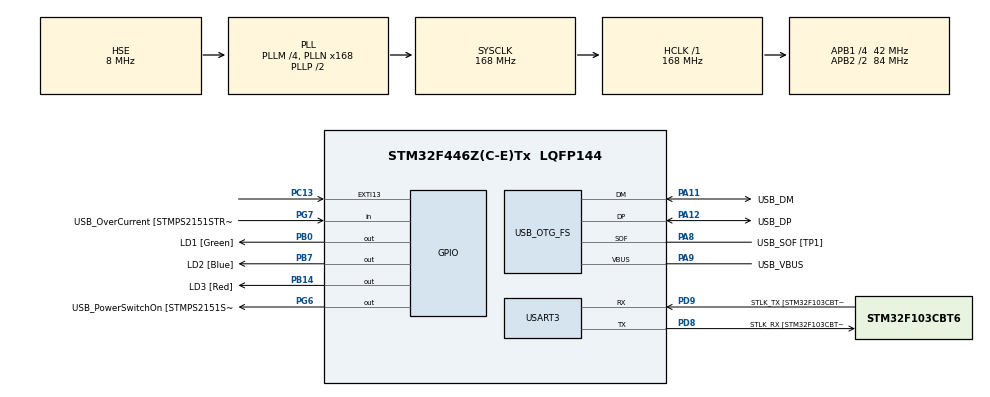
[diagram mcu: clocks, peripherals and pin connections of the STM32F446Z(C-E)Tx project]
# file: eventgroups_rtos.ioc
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FREERTOS.Events01=eventgroup,Dynamic,NULL
FREERTOS.Tasks01=defaultTask,24,128,StartDefaultTask,Default,NULL,Dynamic,NULL,NULL;all3,8,128,StartTask02,Default,NULL,Dynamic,NULL,NULL
Mcu.Family=STM32F4
Mcu.Name=STM32F446Z(C-E)Tx
Mcu.Package=LQFP144
NVIC.EXTI15_10_IRQn=true\:5\:0\:false\:false\:true\:true\:true\:true\:true
NVIC.PriorityGroup=NVIC_PRIORITYGROUP_4
NVIC.USART3_IRQn=true\:5\:0\:false\:false\:true\:true\:true\:true\:true
PA10.GPIO_Label=USB_ID
PA10.Signal=USB_OTG_FS_ID
PA11.GPIO_Label=USB_DM
PA11.Mode=Device_Only
PA11.Signal=USB_OTG_FS_DM
PA12.GPIO_Label=USB_DP
PA12.Mode=Device_Only
PA12.Signal=USB_OTG_FS_DP
PA13.GPIO_Label=TMS
PA13.Mode=Serial_Wire
PA13.Signal=SYS_JTMS-SWDIO
PA14.GPIO_Label=TCK
PA14.Mode=Serial_Wire
PA14.Signal=SYS_JTCK-SWCLK
PA8.GPIO_Label=USB_SOF [TP1]
PA8.Mode=Activate_SOF_FS
PA8.Signal=USB_OTG_FS_SOF
PA9.GPIO_Label=USB_VBUS
PA9.Mode=Activate_VBUS
PA9.Signal=USB_OTG_FS_VBUS
PB0.GPIO_Label=LD1 [Green]
PB0.Signal=GPIO_Output
PB14.GPIO_Label=LD3 [Red]
PB14.Signal=GPIO_Output
PB7.GPIO_Label=LD2 [Blue]
PB7.Signal=GPIO_Output
PC13.Signal=GPXTI13
PC14-OSC32_IN.Mode=LSE-External-Oscillator
PC14-OSC32_IN.Signal=RCC_OSC32_IN
PC15-OSC32_OUT.Mode=LSE-External-Oscillator
PC15-OSC32_OUT.Signal=RCC_OSC32_OUT
PD8.GPIO_Label=STLK_RX [STM32F103CBT6_PA3]
PD8.Mode=Asynchronous
PD8.Signal=USART3_TX
PD9.GPIO_Label=STLK_TX [STM32F103CBT6_PA2]
PD9.Mode=Asynchronous
PD9.Signal=USART3_RX
PG6.GPIO_Label=USB_PowerSwitchOn [STMPS2151STR_EN]
PG6.Signal=GPIO_Output
PG7.GPIO_Label=USB_OverCurrent [STMPS2151STR_FAULT]
PG7.Signal=GPIO_Input
PH0-OSC_IN.GPIO_Label=MCO [STM32F103CBT6_PA8]
PH0-OSC_IN.Mode=HSE-External-Clock-Source
PH0-OSC_IN.Signal=RCC_OSC_IN
PH1-OSC_OUT.Mode=HSE-External-Clock-Source
PH1-OSC_OUT.Signal=RCC_OSC_OUT
ProjectManager.HeapSize=0x200
ProjectManager.StackSize=0x400
ProjectManager.TargetToolchain=STM32CubeIDE
RCC.48MHZClocksFreq_Value=24000000
RCC.AHBFreq_Value=168000000
RCC.APB1CLKDivider=RCC_HCLK_DIV4
RCC.APB1Freq_Value=42000000
RCC.APB1TimFreq_Value=84000000
RCC.APB2CLKDivider=RCC_HCLK_DIV2
RCC.APB2Freq_Value=84000000
RCC.APB2TimFreq_Value=168000000
RCC.CortexFreq_Value=168000000
RCC.HCLKFreq_Value=168000000
RCC.HSE_VALUE=8000000
RCC.HSI_VALUE=16000000
RCC.PLLM=4
RCC.PLLMUL=RCC_PLL_MUL9
RCC.PLLN=168
RCC.PLLQ=7
RCC.PRESCALERUSB=RCC_USBCLKSOURCE_PLL_DIV1_5
RCC.SYSCLKFreq_VALUE=168000000
RCC.SYSCLKSource=RCC_SYSCLKSOURCE_PLLCLK
RCC.SYSCLKSourceVirtual=RCC_SYSCLKSOURCE_PLLCLK
RCC.USBFreq_Value=48000000
RCC.VCOOutputFreq_Value=336000000
USART3.VirtualMode=VM_ASYNC
USB_OTG_FS.VirtualMode=Device_Only
VP_FREERTOS_VS_CMSIS_V2.Mode=CMSIS_V2
board=NUCLEO-F446ZE

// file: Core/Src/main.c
/* USER CODE BEGIN Header */
/**
  ******************************************************************************
  * @file           : main.c
  * @brief          : Main program body
  ******************************************************************************
  * @attention
  *
  * Copyright (c) 2026 STMicroelectronics.
  * All rights reserved.
  *
  * This software is licensed under terms that can be found in the LICENSE file
  * in the root directory of this software component.
  * If no LICENSE file comes with this software, it is provided AS-IS.
  *
  ******************************************************************************
  */
/* USER CODE END Header */
#include "main.h"
#include "cmsis_os.h"
#include"string.h"

/* USER CODE BEGIN PD */
#define UART_EVENT    (1U << 0)
#define BUTTON_EVENT  (1U << 1)
#define TIMER_EVENT   (1U << 2)

uint8_t rx_char;
osTimerId_t MyTimerHandle;

/* USER CODE END PD */

UART_HandleTypeDef huart3;

PCD_HandleTypeDef hpcd_USB_OTG_FS;

/* Definitions for defaultTask */
osThreadId_t defaultTaskHandle;
const osThreadAttr_t defaultTask_attributes = {
  .name = "defaultTask",
  .stack_size = 128 * 4,
  .priority = (osPriority_t) osPriorityNormal,
};
/* Definitions for all3 */
osThreadId_t all3Handle;
const osThreadAttr_t all3_attributes = {
  .name = "all3",
  .stack_size = 128 * 4,
  .priority = (osPriority_t) osPriorityLow,
};
/* Definitions for eventgroup */
osEventFlagsId_t eventgroupHandle;
const osEventFlagsAttr_t eventgroup_attributes = {
  .name = "eventgroup"
};

void SystemClock_Config(void);
static void MX_GPIO_Init(void);
static void MX_USART3_UART_Init(void);
static void MX_USB_OTG_FS_PCD_Init(void);
void StartDefaultTask(void *argument);
void StartTask02(void *argument);

/* USER CODE BEGIN 0 */
void TimerCallback(void *argument)
{
    osEventFlagsSet(eventgroupHandle, TIMER_EVENT);
}

/* UART Callback */
void HAL_UART_RxCpltCallback(UART_HandleTypeDef *huart)
{
    if(huart->Instance == USART3)
    {
        osEventFlagsSet(eventgroupHandle, UART_EVENT);

        HAL_UART_Receive_IT(&huart3,
                            &rx_char,
                            1);
    }
}

/* Button Callback */
void HAL_GPIO_EXTI_Callback(uint16_t GPIO_Pin)
{
    if(GPIO_Pin == GPIO_PIN_13)
    {
        osEventFlagsSet(eventgroupHandle,
                        BUTTON_EVENT);
    }
}
/* USER CODE END 0 */

int main(void)
{

  /* MCU Configuration--------------------------------------------------------*/

  /* Reset of all peripherals, Initializes the Flash interface and the Systick. */
  HAL_Init();

  /* Configure the system clock */
  SystemClock_Config();

  /* Initialize all configured peripherals */
  MX_GPIO_Init();
  MX_USART3_UART_Init();
  MX_USB_OTG_FS_PCD_Init();

  /* Init scheduler */
  osKernelInitialize();

  /* Create the thread(s) */
  /* creation of defaultTask */
  defaultTaskHandle = osThreadNew(StartDefaultTask, NULL, &defaultTask_attributes);

  /* creation of all3 */
  all3Handle = osThreadNew(StartTask02, NULL, &all3_attributes);

  /* Create the event(s) */
  /* creation of eventgroup */
  eventgroupHandle = osEventFlagsNew(&eventgroup_attributes);

  MyTimerHandle =
       osTimerNew(TimerCallback,
                  osTimerPeriodic,
                  NULL,
                  NULL);

   /* Start timer every 5000 ms */
   osTimerStart(MyTimerHandle,
                5000);

   /* Start UART interrupt */
   HAL_UART_Receive_IT(&huart3,
                       &rx_char,
                       1);

  /* Start scheduler */
  osKernelStart();

  /* We should never get here as control is now taken by the scheduler */

  /* Infinite loop */
  while (1)
  {

  }
}

void SystemClock_Config(void)
{
  RCC_OscInitTypeDef RCC_OscInitStruct = {0};
  RCC_ClkInitTypeDef RCC_ClkInitStruct = {0};

  /** Configure the main internal regulator output voltage
  */
  __HAL_RCC_PWR_CLK_ENABLE();
  __HAL_PWR_VOLTAGESCALING_CONFIG(PWR_REGULATOR_VOLTAGE_SCALE1);

  /** Initializes the RCC Oscillators according to the specified parameters
  * in the RCC_OscInitTypeDef structure.
  */
  RCC_OscInitStruct.OscillatorType = RCC_OSCILLATORTYPE_HSE;
  RCC_OscInitStruct.HSEState = RCC_HSE_BYPASS;
  RCC_OscInitStruct.PLL.PLLState = RCC_PLL_ON;
  RCC_OscInitStruct.PLL.PLLSource = RCC_PLLSOURCE_HSE;
  RCC_OscInitStruct.PLL.PLLM = 4;
  RCC_OscInitStruct.PLL.PLLN = 168;
  RCC_OscInitStruct.PLL.PLLP = RCC_PLLP_DIV2;
  RCC_OscInitStruct.PLL.PLLQ = 7;
  RCC_OscInitStruct.PLL.PLLR = 2;
  if (HAL_RCC_OscConfig(&RCC_OscInitStruct) != HAL_OK)
  {
    Error_Handler();
  }

  /** Initializes the CPU, AHB and APB buses clocks
  */
  RCC_ClkInitStruct.ClockType = RCC_CLOCKTYPE_HCLK|RCC_CLOCKTYPE_SYSCLK
                              |RCC_CLOCKTYPE_PCLK1|RCC_CLOCKTYPE_PCLK2;
  RCC_ClkInitStruct.SYSCLKSource = RCC_SYSCLKSOURCE_PLLCLK;
  RCC_ClkInitStruct.AHBCLKDivider = RCC_SYSCLK_DIV1;
  RCC_ClkInitStruct.APB1CLKDivider = RCC_HCLK_DIV4;
  RCC_ClkInitStruct.APB2CLKDivider = RCC_HCLK_DIV2;

  if (HAL_RCC_ClockConfig(&RCC_ClkInitStruct, FLASH_LATENCY_5) != HAL_OK)
  {
    Error_Handler();
  }
}

static void MX_USART3_UART_Init(void)
{

  huart3.Instance = USART3;
  huart3.Init.BaudRate = 115200;
  huart3.Init.WordLength = UART_WORDLENGTH_8B;
  huart3.Init.StopBits = UART_STOPBITS_1;
  huart3.Init.Parity = UART_PARITY_NONE;
  huart3.Init.Mode = UART_MODE_TX_RX;
  huart3.Init.HwFlowCtl = UART_HWCONTROL_NONE;
  huart3.Init.OverSampling = UART_OVERSAMPLING_16;
  if (HAL_UART_Init(&huart3) != HAL_OK)
  {
    Error_Handler();
  }

}

static void MX_USB_OTG_FS_PCD_Init(void)
{

  hpcd_USB_OTG_FS.Instance = USB_OTG_FS;
  hpcd_USB_OTG_FS.Init.dev_endpoints = 6;
  hpcd_USB_OTG_FS.Init.speed = PCD_SPEED_FULL;
  hpcd_USB_OTG_FS.Init.dma_enable = DISABLE;
  hpcd_USB_OTG_FS.Init.phy_itface = PCD_PHY_EMBEDDED;
  hpcd_USB_OTG_FS.Init.Sof_enable = ENABLE;
  hpcd_USB_OTG_FS.Init.low_power_enable = DISABLE;
  hpcd_USB_OTG_FS.Init.lpm_enable = DISABLE;
  hpcd_USB_OTG_FS.Init.vbus_sensing_enable = ENABLE;
  hpcd_USB_OTG_FS.Init.use_dedicated_ep1 = DISABLE;
  if (HAL_PCD_Init(&hpcd_USB_OTG_FS) != HAL_OK)
  {
    Error_Handler();
  }

}

static void MX_GPIO_Init(void)
{
  GPIO_InitTypeDef GPIO_InitStruct = {0};

  /* GPIO Ports Clock Enable */
  __HAL_RCC_GPIOC_CLK_ENABLE();
  __HAL_RCC_GPIOH_CLK_ENABLE();
  __HAL_RCC_GPIOB_CLK_ENABLE();
  __HAL_RCC_GPIOD_CLK_ENABLE();
  __HAL_RCC_GPIOG_CLK_ENABLE();
  __HAL_RCC_GPIOA_CLK_ENABLE();

  /*Configure GPIO pin Output Level */
  HAL_GPIO_WritePin(GPIOB, LD1_Pin|LD3_Pin|LD2_Pin, GPIO_PIN_RESET);

  /*Configure GPIO pin Output Level */
  HAL_GPIO_WritePin(USB_PowerSwitchOn_GPIO_Port, USB_PowerSwitchOn_Pin, GPIO_PIN_RESET);

  /*Configure GPIO pin : PC13 */
  GPIO_InitStruct.Pin = GPIO_PIN_13;
  GPIO_InitStruct.Mode = GPIO_MODE_IT_RISING;
  GPIO_InitStruct.Pull = GPIO_NOPULL;
  HAL_GPIO_Init(GPIOC, &GPIO_InitStruct);

  /*Configure GPIO pins : LD1_Pin LD3_Pin LD2_Pin */
  GPIO_InitStruct.Pin = LD1_Pin|LD3_Pin|LD2_Pin;
  GPIO_InitStruct.Mode = GPIO_MODE_OUTPUT_PP;
  GPIO_InitStruct.Pull = GPIO_NOPULL;
  GPIO_InitStruct.Speed = GPIO_SPEED_FREQ_LOW;
  HAL_GPIO_Init(GPIOB, &GPIO_InitStruct);

  /*Configure GPIO pin : USB_PowerSwitchOn_Pin */
  GPIO_InitStruct.Pin = USB_PowerSwitchOn_Pin;
  GPIO_InitStruct.Mode = GPIO_MODE_OUTPUT_PP;
  GPIO_InitStruct.Pull = GPIO_NOPULL;
  GPIO_InitStruct.Speed = GPIO_SPEED_FREQ_LOW;
  HAL_GPIO_Init(USB_PowerSwitchOn_GPIO_Port, &GPIO_InitStruct);

  /*Configure GPIO pin : USB_OverCurrent_Pin */
  GPIO_InitStruct.Pin = USB_OverCurrent_Pin;
  GPIO_InitStruct.Mode = GPIO_MODE_INPUT;
  GPIO_InitStruct.Pull = GPIO_NOPULL;
  HAL_GPIO_Init(USB_OverCurrent_GPIO_Port, &GPIO_InitStruct);

  /* EXTI interrupt init*/
  HAL_NVIC_SetPriority(EXTI15_10_IRQn, 5, 0);
  HAL_NVIC_EnableIRQ(EXTI15_10_IRQn);

}

void StartDefaultTask(void *argument)
{
  for(;;)
  {
    osDelay(1);
  }
}

void StartTask02(void *argument)
{
  /* USER CODE BEGIN StartTask02 */
	  uint32_t flags;

	    char uart_msg[] =
	        "UART Event\r\n";

	    char button_msg[] =
	        "Button Event\r\n";

	    char timer_msg[] =
	        "Timer Event\r\n";

	    char buffer[50];
  /* Infinite loop */
  for(;;)
  {
	  flags =
	             osEventFlagsWait(
	                     eventgroupHandle,

	                     UART_EVENT |
	                     BUTTON_EVENT |
	                     TIMER_EVENT,

	                     osFlagsWaitAny,

	                     osWaitForever);

	         if(flags & UART_EVENT)
	         {
	             sprintf(buffer,
	                     "UART Char = %c\r\n",
	                     rx_char);

	             HAL_UART_Transmit(
	                     &huart3,
	                     (uint8_t*)uart_msg,
	                     strlen(uart_msg),
	                     HAL_MAX_DELAY);

	             HAL_UART_Transmit(
	                     &huart3,
	                     (uint8_t*)buffer,
	                     strlen(buffer),
	                     HAL_MAX_DELAY);
	         }

	         if(flags & BUTTON_EVENT)
	         {
	             HAL_UART_Transmit(
	                     &huart3,
	                     (uint8_t*)button_msg,
	                     strlen(button_msg),
	                     HAL_MAX_DELAY);
	         }

	         if(flags & TIMER_EVENT)
	         {
	             HAL_UART_Transmit(
	                     &huart3,
	                     (uint8_t*)timer_msg,
	                     strlen(timer_msg),
	                     HAL_MAX_DELAY);
	         }

  }
  /* USER CODE END StartTask02 */
}

void Error_Handler(void)
{
  __disable_irq();
  while (1)
  {
  }
}
